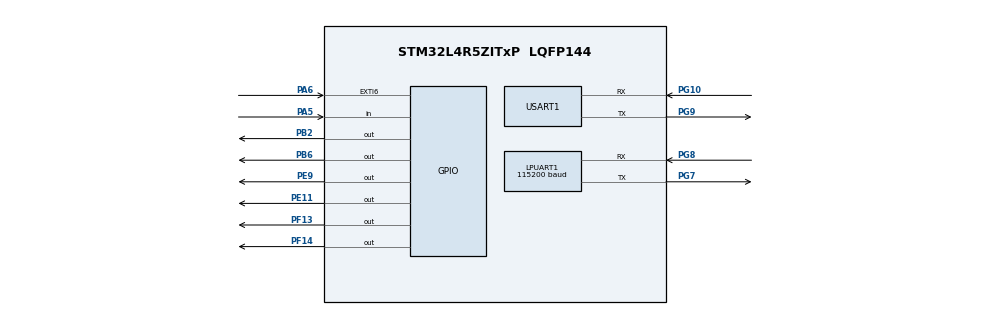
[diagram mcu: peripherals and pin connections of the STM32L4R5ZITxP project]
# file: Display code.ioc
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LPUART1.BaudRate=115200
LPUART1.WordLength=UART_WORDLENGTH_8B
Mcu.Family=STM32L4
Mcu.Name=STM32L4R5ZITxP
Mcu.Package=LQFP144
NVIC.EXTI9_5_IRQn=true\:0\:0\:false\:false\:true\:true\:true\:true
NVIC.PriorityGroup=NVIC_PRIORITYGROUP_4
NVIC.USART1_IRQn=true\:0\:0\:false\:false\:true\:true\:true\:true
PA0.Signal=S_TIM2_CH1
PA1.Signal=ADCx_IN6
PA10.Signal=USB_OTG_FS_ID
PA13\ (JTMS/SWDIO).Signal=SYS_JTMS-SWDIO
PA14\ (JTCK/SWCLK).Signal=SYS_JTCK-SWCLK
PA3.Signal=ADCx_IN8
PA4.Signal=SPI1_NSS
PA5.GPIO_PuPd=GPIO_PULLUP
PA5.Signal=GPIO_Input
PA6.GPIO_ModeDefaultEXTI=GPIO_MODE_IT_FALLING
PA6.GPIO_PuPd=GPIO_PULLUP
PA6.Signal=GPXTI6
PA7.Signal=SPI1_MOSI
PA8.Signal=USB_OTG_FS_SOF
PA9.Signal=USB_OTG_FS_VBUS
PB0.Signal=S_TIM3_CH3
PB1.Signal=ADCx_IN16
PB10.Signal=S_TIM2_CH3
PB12.Signal=SAI2_FS_A
PB13.Signal=SAI2_SCK_A
PB14.Signal=S_TIM15_CH1
PB15.Signal=SAI2_SD_A
PB2.Signal=GPIO_Output
PB3\ (JTDO/TRACESWO).Signal=SPI3_SCK
PB4\ (NJTRST).Signal=SPI3_MISO
PB5.Signal=SPI3_MOSI
PB6.Signal=GPIO_Output
PB8.Signal=I2C1_SCL
PB9.Signal=I2C1_SDA
PC0.Signal=ADCx_IN1
PC1.Signal=ADCx_IN2
PC10.Signal=SDMMC1_D2
PC11.Signal=SDMMC1_D3
PC12.Signal=SDMMC1_CK
PC13.Signal=SYS_WKUP2
PC14-OSC32_IN\ (PC14).Signal=RCC_OSC32_IN
PC15-OSC32_OUT\ (PC15).Signal=RCC_OSC32_OUT
PC2.Signal=ADCx_IN3
PC3.Signal=ADCx_IN4
PC4.Signal=ADCx_IN13
PC5.Signal=ADCx_IN14
PC6.Signal=SAI2_MCLK_A
PC7.Signal=S_TIM3_CH2
PC8.Signal=SDMMC1_D0
PC9.Signal=SDMMC1_D1
PD0.Signal=CAN1_RX
PD14.Signal=S_TIM4_CH3
PD15.Signal=S_TIM4_CH4
PD2.Signal=SDMMC1_CMD
PD3.Signal=USART2_CTS
PD4.Signal=USART2_RTS
PD5.Signal=USART2_TX
PD6.Signal=USART2_RX
PD8.Signal=USART3_TX
PD9.Signal=USART3_RX
PE0.Signal=S_TIM4_ETR
PE10.Signal=TIM1_CH2N
PE11.Signal=GPIO_Output
PE12.Signal=TIM1_CH3N
PE13.Signal=S_TIM1_CH3
PE14.Signal=TIM1_BKIN2
PE15.Signal=TIM1_BKIN
PE2.Signal=SAI1_MCLK_A
PE3.Signal=SAI1_SD_B
PE7.Signal=S_TIM1_ETR
PE8.Signal=TIM1_CH1N
PE9.Signal=GPIO_Output
PF0.Signal=I2C2_SDA
PF1.Signal=I2C2_SCL
PF13.Signal=GPIO_Output
PF14.Signal=GPIO_Output
PF2.Signal=I2C2_SMBA
PF7.Signal=SAI1_MCLK_B
PG10.Mode=Asynchronous
PG10.Signal=USART1_RX
PG7.Mode=Asynchronous
PG7.Signal=LPUART1_TX
PG8.Mode=Asynchronous
PG8.Signal=LPUART1_RX
PG9.Mode=Asynchronous
PG9.Signal=USART1_TX
PH0-OSC_IN\ (PH0).Signal=RCC_OSC_IN
PH1-OSC_OUT\ (PH1).Signal=RCC_OSC_OUT
ProjectManager.HeapSize=0x200
ProjectManager.StackSize=0x400
ProjectManager.TargetToolchain=STM32CubeIDE
RCC.HSE_VALUE=8000000
RCC.HSI48_VALUE=48000000
RCC.HSI_VALUE=16000000
RCC.LSE_VALUE=32768
RCC.MSI_VALUE=4000000
RCC.VCOOutputFreq_Value=32000000
SH.ADCx_IN1.0=ADC1_IN1
SH.ADCx_IN13.0=ADC1_IN13
SH.ADCx_IN14.0=ADC1_IN14
SH.ADCx_IN16.0=ADC1_IN16
SH.ADCx_IN2.0=ADC1_IN2
SH.ADCx_IN3.0=ADC1_IN3
SH.ADCx_IN4.0=ADC1_IN4
SH.ADCx_IN6.0=ADC1_IN6
SH.ADCx_IN8.0=ADC1_IN8
SH.S_TIM15_CH1.0=TIM15_CH1
SH.S_TIM1_CH3.0=TIM1_CH3
SH.S_TIM1_ETR.0=TIM1_ETR
SH.S_TIM2_CH1.0=TIM2_CH1
SH.S_TIM2_CH3.0=TIM2_CH3
SH.S_TIM3_CH2.0=TIM3_CH2
SH.S_TIM3_CH3.0=TIM3_CH3
SH.S_TIM4_CH3.0=TIM4_CH3
SH.S_TIM4_CH4.0=TIM4_CH4
SH.S_TIM4_ETR.0=TIM4_ETR
USART1.VirtualMode-Asynchronous=VM_ASYNC
board=NUCLEO-L4R5ZI-P

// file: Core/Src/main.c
/* USER CODE BEGIN Header */
/**
  ******************************************************************************
  * @file           : main.c
  * @brief          : Main program body
  ******************************************************************************
  * @attention
  *
  * Copyright (c) 2025 STMicroelectronics.
  * All rights reserved.
  *
  * This software is licensed under terms that can be found in the LICENSE file
  * in the root directory of this software component.
  * If no LICENSE file comes with this software, it is provided AS-IS.
  *
  ******************************************************************************
  */
/* USER CODE END Header */
#include "main.h"

/* USER CODE BEGIN Includes */

#include "stdio.h"
#include "stdbool.h"

/* USER CODE END Includes */

/* USER CODE BEGIN PTD */
#define PS2_CLOCK_PIN  GPIO_PIN_6
#define PS2_CLOCK_GPIO_Port  GPIOA

#define PS2_DATA_PIN  GPIO_PIN_5
#define PS2_DATA_GPIO_Port  GPIOA

extern UART_HandleTypeDef huart1;  // <-- Add this line

/* USER CODE END PTD */

/* USER CODE BEGIN PD */

void command(char i){

	data(i); //put data on output Port
	//D_I =0; //D/I=LOW : send instruction
	HAL_GPIO_WritePin(GPIOB, GPIO_PIN_2, 0);
	//R_W =0; //R/W=LOW : Write
	Nybble(); //Send lower 4 bits
	i = i<<4; //Shift over by 4 bits
	data(i); //put data on output Port
	Nybble(); //Send upper 4 bits

}

void write(char i){

	data(i); //put data on output Port
	//D_I =1; //D/I=HIGH : send data
	HAL_GPIO_WritePin(GPIOB, GPIO_PIN_2, 1);
	//R_W =0; //R/W=LOW : Write
	Nybble(); //Clock lower 4 bits
	i = i<<4; //Shift over by 4 bits
	data(i); //put data on output Port
	Nybble(); //Clock upper 4 bits

}

void print_lcd(const char* str) {

	while (*str) {
		write(*str);
		str++;

	}
}

void data(char i){

	HAL_GPIO_WritePin(GPIOF, GPIO_PIN_14, (i >> 4) & 1);
	HAL_GPIO_WritePin(GPIOE, GPIO_PIN_11, (i >> 5) & 1);
	HAL_GPIO_WritePin(GPIOE, GPIO_PIN_9, (i >> 6) & 1);
	HAL_GPIO_WritePin(GPIOF, GPIO_PIN_13, (i >> 7) & 1);

}

void Nybble(){

	HAL_GPIO_WritePin(GPIOB, GPIO_PIN_6, 1);
	HAL_Delay(1); //enable pulse width >= 300ns
	HAL_GPIO_WritePin(GPIOB, GPIO_PIN_6, 0); //enable falling edge

}

void lcd_init(){

	data(0);
	HAL_Delay(100); //Wait >40 msec after power is applied
	data(0x30); //put 0x30 on the output port
	HAL_Delay(30); //must wait 5ms, busy flag not available
	Nybble(); //command 0x30 = Wake up
	HAL_Delay(10); //must wait 160us, busy flag not available
	Nybble(); //command 0x30 = Wake up #2
	HAL_Delay(10); //must wait 160us, busy flag not available
	Nybble(); //command 0x30 = Wake up #3
	HAL_Delay(10); //can check busy flag now instead of delay
	data(0x20); //put 0x20 on the output port
	Nybble(); //Function set: 4-bit interface
	command(0x28); //Function set: 4-bit/2-line
	command(0x10); //Set cursor
	command(0x0F); //Display ON; Blinking cursor
	command(0x06); //Entry Mode set

}

/**************************************************/
//keyboard stuff

volatile int ps2_data_ready = false;
volatile uint8_t ps2_scan_code = 0;

int counter = 0;
enum PS2State {
    PS2_IDLE,
    PS2_BREAK_PENDING,
    PS2_EXTENDED_PENDING
};

volatile enum PS2State ps2_state = PS2_IDLE;

volatile uint32_t last_key_timestamp = 0;
volatile uint8_t last_key_code = 0;
#define REPEAT_FILTER_MS 160

#define BUFFER_SIZE 128
char keyChar = 0;
char promptBuffer[128];
uint16_t promptIndex = 0;
bool screen_limit = false;

void process_keyboard(void) {

	if (ps2_data_ready == false) return;
	uint8_t current_code = ps2_scan_code;

	// Handle special codes
	if (current_code == 0xF0) {
		ps2_state =	PS2_BREAK_PENDING;
		ps2_data_ready = false;

		return;
	}
	if (current_code == 0xE0) {
		ps2_state =	PS2_EXTENDED_PENDING;
		ps2_data_ready = false;

		return;
	}

	// If we're processing the second byte of a break sequence, ignore it
	if (ps2_state == PS2_BREAK_PENDING) {
		ps2_state = PS2_IDLE;
		ps2_data_ready = false;

		return;
	}

	//printf("Scan code: 0x%02X\n", current_code);

    uint32_t now = HAL_GetTick();
    if ((current_code == last_key_code) &&
        ((now - last_key_timestamp) < REPEAT_FILTER_MS)) {
        // Ignore this duplicate event.
    	ps2_data_ready = false;

        return;
    }

    last_key_timestamp = now;
    last_key_code = current_code;

	switch (current_code) {
		case 0x1C: keyChar = 'A'; write('A'); counter++; break;
	    case 0x32: keyChar = 'B'; write('B'); counter++; break;
	    case 0x21: keyChar = 'C'; write('C'); counter++; break;
	    case 0x23: keyChar = 'D'; write('D'); counter++; break;
	    case 0x24: keyChar = 'E'; write('E'); counter++; break;
	    case 0x2B: keyChar = 'F'; write('F'); counter++; break;
	    case 0x34: keyChar = 'G'; write('G'); counter++; break;
	    case 0x33: keyChar = 'H'; write('H'); counter++; break;
	    case 0x43: keyChar = 'I'; write('I'); counter++; break;
	    case 0x3B: keyChar = 'J'; write('J'); counter++; break;
	    case 0x42: keyChar = 'K'; write('K'); counter++; break;
	    case 0x4B: keyChar = 'L'; write('L'); counter++; break;
	    case 0x3A: keyChar = 'M'; write('M'); counter++; break;
	    case 0x31: keyChar = 'N'; write('N'); counter++; break;
	    case 0x44: keyChar = 'O'; write('O'); counter++; break;
	    case 0x4D: keyChar = 'P'; write('P'); counter++; break;
	    case 0x15: keyChar = 'Q'; write('Q'); counter++; break;
	    case 0x2D: keyChar = 'R'; write('R'); counter++; break;
	    case 0x1B: keyChar = 'S'; write('S'); counter++; break;
	    case 0x2C: keyChar = 'T'; write('T'); counter++; break;
	    case 0x3C: keyChar = 'U'; write('U'); counter++; break;
	    case 0x2A: keyChar = 'V'; write('V'); counter++; break;
	    case 0x1D: keyChar = 'W'; write('W'); counter++; break;
	    case 0x22: keyChar = 'X'; write('X'); counter++; break;
	    case 0x35: keyChar = 'Y'; write('Y'); counter++; break;
	    case 0x1A: keyChar = 'Z'; write('Z'); counter++; break;
	    // Numbers
	    case 0x16: keyChar = '1'; write('1'); counter++; break;
	    case 0x1E: keyChar = '2'; write('2'); counter++; break;
	    case 0x26: keyChar = '3'; write('3'); counter++; break;
	    case 0x25: keyChar = '4'; write('4'); counter++; break;
	    case 0x2E: keyChar = '5'; write('5'); counter++; break;
	    case 0x36: keyChar = '6'; write('6'); counter++; break;
	    case 0x3D: keyChar = '7'; write('7'); counter++; break;
	    case 0x3E: keyChar = '8'; write('8'); counter++; break;
	    case 0x46: keyChar = '9'; write('9'); counter++; break;
	    case 0x45: keyChar = '0'; write('0'); counter++; break;
	    // Punctuation and symbols
	    case 0x41: keyChar = ','; write(','); counter++; break;
	    case 0x49: keyChar = '.'; write('.'); counter++; break;
	    case 0x0E: keyChar = '`'; write('`'); counter++; break;
	    case 0x4E: keyChar = '-'; write('-'); counter++; break;
	    case 0x55: keyChar = '='; write('='); counter++; break;
	    case 0x5A: keyChar = '\n'; command(0x01); counter = 0; break;
	    case 0x66:
	        keyChar = '\b';
	        if (counter > 0) {
	            command(0x10);  // Shift cursor left
	            write(' ');     // Write a space to erase the character
	            command(0x10);  // Move cursor back to the "erased" position
	            counter--;
	        }
	        break;
	    case 0x54: keyChar = '['; write('['); counter++; break;
	    case 0x5B: keyChar = ']'; write(']'); counter++; break;
	    case 0x29: keyChar = ' '; write(' '); counter++; break;
	}

	if(counter == 20 && current_code != 0x66){
		command(0xC0);
	}
	else if(counter == 40 && current_code != 0x66){
		command(0x94);
	}
	else if(counter == 60 && current_code != 0x66){
		command(0xD4);
	}
	else if(counter == 80 && current_code != 0x66){
		command(0x01);
		counter = 0;
		screen_limit = true;
	}
	else if(counter == 20 && current_code == 0x66){
		command(0x94);
		command(0x10);  // Shift cursor left
		write(' ');     // Write a space to erase the character
		command(0x10);
		counter--;
	}
	else if(counter == 40 && current_code == 0x66){
		command(0xD4);
		command(0x10);  // Shift cursor left
		write(' ');     // Write a space to erase the character
		command(0x10);
		counter--;
	}
	else if(counter == 60 && current_code == 0x66){
		command(0xC0);
		command(0x10);  // Shift cursor left
		write(' ');     // Write a space to erase the character
		command(0x10);
		counter--;
	}
	else if(counter == 80 && current_code == 0x66){
		command(0x01);
		command(0x10);  // Shift cursor left
		write(' ');     // Write a space to erase the character
		command(0x10);
		counter--;
	}

	// Bluetooth Code
	if(current_code == 0x66){
		if (promptIndex > 0) {
			promptIndex--;
		    promptBuffer[promptIndex] = '\0';
		}
	}
	else if(current_code == 0x5A || screen_limit == true){
		printf("Final Prompt: %s\n", promptBuffer);
		promptBuffer[promptIndex] = '\n';
		HAL_UART_Transmit(&huart1, (uint8_t *)promptBuffer, promptIndex, HAL_MAX_DELAY);
		promptIndex = 0;
		memset(promptBuffer, 0, BUFFER_SIZE);
		screen_limit = false;
	}
	else{
		promptBuffer[promptIndex++] = keyChar;
		promptBuffer[promptIndex] = '\0';  // Keep it null-terminated.
	}

	ps2_data_ready = false;
}

/* USER CODE END PD */

UART_HandleTypeDef hlpuart1;
UART_HandleTypeDef huart1;

void SystemClock_Config(void);
static void MX_GPIO_Init(void);
static void MX_LPUART1_UART_Init(void);
static void MX_USART1_UART_Init(void);

/* USER CODE BEGIN 0 */

volatile uint8_t ps2_data = 0;
volatile uint8_t ps2_bitcount = 0;

void HAL_GPIO_EXTI_Callback(uint16_t GPIO_Pin) {
	if (GPIO_Pin == PS2_CLOCK_PIN) {
	    // Start bit (should be 0)

		if(ps2_data_ready == false){

			if (ps2_bitcount == 0) {
			  // Verify it's a start bit (0)
			  if (!HAL_GPIO_ReadPin(PS2_DATA_GPIO_Port, PS2_DATA_PIN)) {
				ps2_data = 0;
				ps2_bitcount++;
			  }
			}
			// Data bits (1-8)
			else if (ps2_bitcount >= 1 && ps2_bitcount <= 8) {
			  ps2_data >>= 1;
			  if (HAL_GPIO_ReadPin(PS2_DATA_GPIO_Port, PS2_DATA_PIN)) {
				ps2_data |= 0x80;
			  }
			  ps2_bitcount++;
			}
			// Parity bit (9)
			else if (ps2_bitcount == 9) {
			  // We ignore parity for now
			  ps2_bitcount++;
			}
			// Stop bit (10)
			else if (ps2_bitcount == 10) {
			  ps2_bitcount = 0;
			  ps2_scan_code = ps2_data;
			  ps2_data_ready = true;
			}

		}
	  }
}

/* USER CODE END 0 */

int main(void)
{

  /* MCU Configuration--------------------------------------------------------*/

  /* Reset of all peripherals, Initializes the Flash interface and the Systick. */
  HAL_Init();

  /* Configure the system clock */
  SystemClock_Config();

  /* Initialize all configured peripherals */
  MX_GPIO_Init();
  MX_LPUART1_UART_Init();
  MX_USART1_UART_Init();

  /* Infinite loop */
  /* USER CODE BEGIN WHILE */

//  uint8_t buffer[BUFFER_SIZE];
  lcd_init();

  command(0x01);
  HAL_Delay(5);
  //print_lcd("Qussai");

  while (1)
  {
    /* USER CODE END WHILE */
	  process_keyboard();
	  //sHAL_Delay(10); // Small delay for stability
  }
}

/*
  * @brief System Clock Configuration
  * @retval None
  */
void SystemClock_Config(void)
{
  RCC_OscInitTypeDef RCC_OscInitStruct = {0};
  RCC_ClkInitTypeDef RCC_ClkInitStruct = {0};

  /** Configure the main internal regulator output voltage
  */
  if (HAL_PWREx_ControlVoltageScaling(PWR_REGULATOR_VOLTAGE_SCALE1) != HAL_OK)
  {
    Error_Handler();
  }

  /** Initializes the RCC Oscillators according to the specified parameters
  * in the RCC_OscInitTypeDef structure.
  */
  RCC_OscInitStruct.OscillatorType = RCC_OSCILLATORTYPE_MSI;
  RCC_OscInitStruct.MSIState = RCC_MSI_ON;
  RCC_OscInitStruct.MSICalibrationValue = 0;
  RCC_OscInitStruct.MSIClockRange = RCC_MSIRANGE_6;
  RCC_OscInitStruct.PLL.PLLState = RCC_PLL_NONE;
  if (HAL_RCC_OscConfig(&RCC_OscInitStruct) != HAL_OK)
  {
    Error_Handler();
  }

  /** Initializes the CPU, AHB and APB buses clocks
  */
  RCC_ClkInitStruct.ClockType = RCC_CLOCKTYPE_HCLK|RCC_CLOCKTYPE_SYSCLK
                              |RCC_CLOCKTYPE_PCLK1|RCC_CLOCKTYPE_PCLK2;
  RCC_ClkInitStruct.SYSCLKSource = RCC_SYSCLKSOURCE_MSI;
  RCC_ClkInitStruct.AHBCLKDivider = RCC_SYSCLK_DIV1;
  RCC_ClkInitStruct.APB1CLKDivider = RCC_HCLK_DIV1;
  RCC_ClkInitStruct.APB2CLKDivider = RCC_HCLK_DIV1;

  if (HAL_RCC_ClockConfig(&RCC_ClkInitStruct, FLASH_LATENCY_0) != HAL_OK)
  {
    Error_Handler();
  }
}

static void MX_LPUART1_UART_Init(void)
{

  hlpuart1.Instance = LPUART1;
  hlpuart1.Init.BaudRate = 115200;
  hlpuart1.Init.WordLength = UART_WORDLENGTH_8B;
  hlpuart1.Init.StopBits = UART_STOPBITS_1;
  hlpuart1.Init.Parity = UART_PARITY_NONE;
  hlpuart1.Init.Mode = UART_MODE_TX_RX;
  hlpuart1.Init.HwFlowCtl = UART_HWCONTROL_NONE;
  hlpuart1.Init.OneBitSampling = UART_ONE_BIT_SAMPLE_DISABLE;
  hlpuart1.Init.ClockPrescaler = UART_PRESCALER_DIV1;
  hlpuart1.AdvancedInit.AdvFeatureInit = UART_ADVFEATURE_NO_INIT;
  hlpuart1.FifoMode = UART_FIFOMODE_DISABLE;
  if (HAL_UART_Init(&hlpuart1) != HAL_OK)
  {
    Error_Handler();
  }
  if (HAL_UARTEx_SetTxFifoThreshold(&hlpuart1, UART_TXFIFO_THRESHOLD_1_8) != HAL_OK)
  {
    Error_Handler();
  }
  if (HAL_UARTEx_SetRxFifoThreshold(&hlpuart1, UART_RXFIFO_THRESHOLD_1_8) != HAL_OK)
  {
    Error_Handler();
  }
  if (HAL_UARTEx_DisableFifoMode(&hlpuart1) != HAL_OK)
  {
    Error_Handler();
  }

}

static void MX_USART1_UART_Init(void)
{

  huart1.Instance = USART1;
  huart1.Init.BaudRate = 115200;
  huart1.Init.WordLength = UART_WORDLENGTH_8B;
  huart1.Init.StopBits = UART_STOPBITS_1;
  huart1.Init.Parity = UART_PARITY_NONE;
  huart1.Init.Mode = UART_MODE_TX_RX;
  huart1.Init.HwFlowCtl = UART_HWCONTROL_NONE;
  huart1.Init.OverSampling = UART_OVERSAMPLING_16;
  huart1.Init.OneBitSampling = UART_ONE_BIT_SAMPLE_DISABLE;
  huart1.Init.ClockPrescaler = UART_PRESCALER_DIV1;
  huart1.AdvancedInit.AdvFeatureInit = UART_ADVFEATURE_NO_INIT;
  if (HAL_UART_Init(&huart1) != HAL_OK)
  {
    Error_Handler();
  }
  if (HAL_UARTEx_SetTxFifoThreshold(&huart1, UART_TXFIFO_THRESHOLD_1_8) != HAL_OK)
  {
    Error_Handler();
  }
  if (HAL_UARTEx_SetRxFifoThreshold(&huart1, UART_RXFIFO_THRESHOLD_1_8) != HAL_OK)
  {
    Error_Handler();
  }
  if (HAL_UARTEx_DisableFifoMode(&huart1) != HAL_OK)
  {
    Error_Handler();
  }

}

static void MX_GPIO_Init(void)
{
  GPIO_InitTypeDef GPIO_InitStruct = {0};

  /* GPIO Ports Clock Enable */
  __HAL_RCC_GPIOE_CLK_ENABLE();
  __HAL_RCC_GPIOC_CLK_ENABLE();
  __HAL_RCC_GPIOF_CLK_ENABLE();
  __HAL_RCC_GPIOH_CLK_ENABLE();
  __HAL_RCC_GPIOA_CLK_ENABLE();
  __HAL_RCC_GPIOB_CLK_ENABLE();
  __HAL_RCC_GPIOD_CLK_ENABLE();
  __HAL_RCC_GPIOG_CLK_ENABLE();
  HAL_PWREx_EnableVddIO2();

  /*Configure GPIO pin Output Level */
  HAL_GPIO_WritePin(GPIOB, GPIO_PIN_2|GPIO_PIN_6, GPIO_PIN_RESET);

  /*Configure GPIO pin Output Level */
  HAL_GPIO_WritePin(GPIOF, GPIO_PIN_13|GPIO_PIN_14, GPIO_PIN_RESET);

  /*Configure GPIO pin Output Level */
  HAL_GPIO_WritePin(GPIOE, GPIO_PIN_9|GPIO_PIN_11, GPIO_PIN_RESET);

  /*Configure GPIO pins : PE2 PE3 */
  GPIO_InitStruct.Pin = GPIO_PIN_2|GPIO_PIN_3;
  GPIO_InitStruct.Mode = GPIO_MODE_AF_PP;
  GPIO_InitStruct.Pull = GPIO_NOPULL;
  GPIO_InitStruct.Speed = GPIO_SPEED_FREQ_LOW;
  GPIO_InitStruct.Alternate = GPIO_AF13_SAI1;
  HAL_GPIO_Init(GPIOE, &GPIO_InitStruct);

  /*Configure GPIO pins : PF0 PF1 PF2 */
  GPIO_InitStruct.Pin = GPIO_PIN_0|GPIO_PIN_1|GPIO_PIN_2;
  GPIO_InitStruct.Mode = GPIO_MODE_AF_OD;
  GPIO_InitStruct.Pull = GPIO_NOPULL;
  GPIO_InitStruct.Speed = GPIO_SPEED_FREQ_VERY_HIGH;
  GPIO_InitStruct.Alternate = GPIO_AF4_I2C2;
  HAL_GPIO_Init(GPIOF, &GPIO_InitStruct);

  /*Configure GPIO pin : PF7 */
  GPIO_InitStruct.Pin = GPIO_PIN_7;
  GPIO_InitStruct.Mode = GPIO_MODE_AF_PP;
  GPIO_InitStruct.Pull = GPIO_NOPULL;
  GPIO_InitStruct.Speed = GPIO_SPEED_FREQ_LOW;
  GPIO_InitStruct.Alternate = GPIO_AF13_SAI1;
  HAL_GPIO_Init(GPIOF, &GPIO_InitStruct);

  /*Configure GPIO pins : PC0 PC1 PC2 PC3
                           PC4 PC5 */
  GPIO_InitStruct.Pin = GPIO_PIN_0|GPIO_PIN_1|GPIO_PIN_2|GPIO_PIN_3
                          |GPIO_PIN_4|GPIO_PIN_5;
  GPIO_InitStruct.Mode = GPIO_MODE_ANALOG_ADC_CONTROL;
  GPIO_InitStruct.Pull = GPIO_NOPULL;
  HAL_GPIO_Init(GPIOC, &GPIO_InitStruct);

  /*Configure GPIO pin : PA0 */
  GPIO_InitStruct.Pin = GPIO_PIN_0;
  GPIO_InitStruct.Mode = GPIO_MODE_AF_PP;
  GPIO_InitStruct.Pull = GPIO_NOPULL;
  GPIO_InitStruct.Speed = GPIO_SPEED_FREQ_LOW;
  GPIO_InitStruct.Alternate = GPIO_AF1_TIM2;
  HAL_GPIO_Init(GPIOA, &GPIO_InitStruct);

  /*Configure GPIO pins : PA1 PA3 */
  GPIO_InitStruct.Pin = GPIO_PIN_1|GPIO_PIN_3;
  GPIO_InitStruct.Mode = GPIO_MODE_ANALOG_ADC_CONTROL;
  GPIO_InitStruct.Pull = GPIO_NOPULL;
  HAL_GPIO_Init(GPIOA, &GPIO_InitStruct);

  /*Configure GPIO pins : PA4 PA7 */
  GPIO_InitStruct.Pin = GPIO_PIN_4|GPIO_PIN_7;
  GPIO_InitStruct.Mode = GPIO_MODE_AF_PP;
  GPIO_InitStruct.Pull = GPIO_NOPULL;
  GPIO_InitStruct.Speed = GPIO_SPEED_FREQ_VERY_HIGH;
  GPIO_InitStruct.Alternate = GPIO_AF5_SPI1;
  HAL_GPIO_Init(GPIOA, &GPIO_InitStruct);

  /*Configure GPIO pin : PA5 */
  GPIO_InitStruct.Pin = GPIO_PIN_5;
  GPIO_InitStruct.Mode = GPIO_MODE_INPUT;
  GPIO_InitStruct.Pull = GPIO_PULLUP;
  HAL_GPIO_Init(GPIOA, &GPIO_InitStruct);

  /*Configure GPIO pin : PA6 */
  GPIO_InitStruct.Pin = GPIO_PIN_6;
  GPIO_InitStruct.Mode = GPIO_MODE_IT_FALLING;
  GPIO_InitStruct.Pull = GPIO_PULLUP;
  HAL_GPIO_Init(GPIOA, &GPIO_InitStruct);

  /*Configure GPIO pin : PB0 */
  GPIO_InitStruct.Pin = GPIO_PIN_0;
  GPIO_InitStruct.Mode = GPIO_MODE_AF_PP;
  GPIO_InitStruct.Pull = GPIO_NOPULL;
  GPIO_InitStruct.Speed = GPIO_SPEED_FREQ_LOW;
  GPIO_InitStruct.Alternate = GPIO_AF2_TIM3;
  HAL_GPIO_Init(GPIOB, &GPIO_InitStruct);

  /*Configure GPIO pin : PB1 */
  GPIO_InitStruct.Pin = GPIO_PIN_1;
  GPIO_InitStruct.Mode = GPIO_MODE_ANALOG_ADC_CONTROL;
  GPIO_InitStruct.Pull = GPIO_NOPULL;
  HAL_GPIO_Init(GPIOB, &GPIO_InitStruct);

  /*Configure GPIO pins : PB2 PB6 */
  GPIO_InitStruct.Pin = GPIO_PIN_2|GPIO_PIN_6;
  GPIO_InitStruct.Mode = GPIO_MODE_OUTPUT_PP;
  GPIO_InitStruct.Pull = GPIO_NOPULL;
  GPIO_InitStruct.Speed = GPIO_SPEED_FREQ_LOW;
  HAL_GPIO_Init(GPIOB, &GPIO_InitStruct);

  /*Configure GPIO pins : PF13 PF14 */
  GPIO_InitStruct.Pin = GPIO_PIN_13|GPIO_PIN_14;
  GPIO_InitStruct.Mode = GPIO_MODE_OUTPUT_PP;
  GPIO_InitStruct.Pull = GPIO_NOPULL;
  GPIO_InitStruct.Speed = GPIO_SPEED_FREQ_LOW;
  HAL_GPIO_Init(GPIOF, &GPIO_InitStruct);

  /*Configure GPIO pins : PE7 PE8 PE10 PE12
                           PE13 */
  GPIO_InitStruct.Pin = GPIO_PIN_7|GPIO_PIN_8|GPIO_PIN_10|GPIO_PIN_12
                          |GPIO_PIN_13;
  GPIO_InitStruct.Mode = GPIO_MODE_AF_PP;
  GPIO_InitStruct.Pull = GPIO_NOPULL;
  GPIO_InitStruct.Speed = GPIO_SPEED_FREQ_LOW;
  GPIO_InitStruct.Alternate = GPIO_AF1_TIM1;
  HAL_GPIO_Init(GPIOE, &GPIO_InitStruct);

  /*Configure GPIO pins : PE9 PE11 */
  GPIO_InitStruct.Pin = GPIO_PIN_9|GPIO_PIN_11;
  GPIO_InitStruct.Mode = GPIO_MODE_OUTPUT_PP;
  GPIO_InitStruct.Pull = GPIO_NOPULL;
  GPIO_InitStruct.Speed = GPIO_SPEED_FREQ_LOW;
  HAL_GPIO_Init(GPIOE, &GPIO_InitStruct);

  /*Configure GPIO pins : PE14 PE15 */
  GPIO_InitStruct.Pin = GPIO_PIN_14|GPIO_PIN_15;
  GPIO_InitStruct.Mode = GPIO_MODE_AF_PP;
  GPIO_InitStruct.Pull = GPIO_NOPULL;
  GPIO_InitStruct.Speed = GPIO_SPEED_FREQ_LOW;
  GPIO_InitStruct.Alternate = GPIO_AF3_TIM1_COMP1;
  HAL_GPIO_Init(GPIOE, &GPIO_InitStruct);

  /*Configure GPIO pin : PB10 */
  GPIO_InitStruct.Pin = GPIO_PIN_10;
  GPIO_InitStruct.Mode = GPIO_MODE_AF_PP;
  GPIO_InitStruct.Pull = GPIO_NOPULL;
  GPIO_InitStruct.Speed = GPIO_SPEED_FREQ_LOW;
  GPIO_InitStruct.Alternate = GPIO_AF1_TIM2;
  HAL_GPIO_Init(GPIOB, &GPIO_InitStruct);

  /*Configure GPIO pins : PB12 PB13 PB15 */
  GPIO_InitStruct.Pin = GPIO_PIN_12|GPIO_PIN_13|GPIO_PIN_15;
  GPIO_InitStruct.Mode = GPIO_MODE_AF_PP;
  GPIO_InitStruct.Pull = GPIO_NOPULL;
  GPIO_InitStruct.Speed = GPIO_SPEED_FREQ_LOW;
  GPIO_InitStruct.Alternate = GPIO_AF13_SAI2;
  HAL_GPIO_Init(GPIOB, &GPIO_InitStruct);

  /*Configure GPIO pin : PB14 */
  GPIO_InitStruct.Pin = GPIO_PIN_14;
  GPIO_InitStruct.Mode = GPIO_MODE_AF_PP;
  GPIO_InitStruct.Pull = GPIO_NOPULL;
  GPIO_InitStruct.Speed = GPIO_SPEED_FREQ_LOW;
  GPIO_InitStruct.Alternate = GPIO_AF14_TIM15;
  HAL_GPIO_Init(GPIOB, &GPIO_InitStruct);

  /*Configure GPIO pins : PD8 PD9 */
  GPIO_InitStruct.Pin = GPIO_PIN_8|GPIO_PIN_9;
  GPIO_InitStruct.Mode = GPIO_MODE_AF_PP;
  GPIO_InitStruct.Pull = GPIO_NOPULL;
  GPIO_InitStruct.Speed = GPIO_SPEED_FREQ_VERY_HIGH;
  GPIO_InitStruct.Alternate = GPIO_AF7_USART3;
  HAL_GPIO_Init(GPIOD, &GPIO_InitStruct);

  /*Configure GPIO pins : PD14 PD15 */
  GPIO_InitStruct.Pin = GPIO_PIN_14|GPIO_PIN_15;
  GPIO_InitStruct.Mode = GPIO_MODE_AF_PP;
  GPIO_InitStruct.Pull = GPIO_NOPULL;
  GPIO_InitStruct.Speed = GPIO_SPEED_FREQ_LOW;
  GPIO_InitStruct.Alternate = GPIO_AF2_TIM4;
  HAL_GPIO_Init(GPIOD, &GPIO_InitStruct);

  /*Configure GPIO pin : PC6 */
  GPIO_InitStruct.Pin = GPIO_PIN_6;
  GPIO_InitStruct.Mode = GPIO_MODE_AF_PP;
  GPIO_InitStruct.Pull = GPIO_NOPULL;
  GPIO_InitStruct.Speed = GPIO_SPEED_FREQ_LOW;
  GPIO_InitStruct.Alternate = GPIO_AF13_SAI2;
  HAL_GPIO_Init(GPIOC, &GPIO_InitStruct);

  /*Configure GPIO pin : PC7 */
  GPIO_InitStruct.Pin = GPIO_PIN_7;
  GPIO_InitStruct.Mode = GPIO_MODE_AF_PP;
  GPIO_InitStruct.Pull = GPIO_NOPULL;
  GPIO_InitStruct.Speed = GPIO_SPEED_FREQ_LOW;
  GPIO_InitStruct.Alternate = GPIO_AF2_TIM3;
  HAL_GPIO_Init(GPIOC, &GPIO_InitStruct);

  /*Configure GPIO pins : PC8 PC9 PC10 PC11
                           PC12 */
  GPIO_InitStruct.Pin = GPIO_PIN_8|GPIO_PIN_9|GPIO_PIN_10|GPIO_PIN_11
                          |GPIO_PIN_12;
  GPIO_InitStruct.Mode = GPIO_MODE_AF_PP;
  GPIO_InitStruct.Pull = GPIO_NOPULL;
  GPIO_InitStruct.Speed = GPIO_SPEED_FREQ_VERY_HIGH;
  GPIO_InitStruct.Alternate = GPIO_AF12_SDMMC1;
  HAL_GPIO_Init(GPIOC, &GPIO_InitStruct);

  /*Configure GPIO pins : PA8 PA10 */
  GPIO_InitStruct.Pin = GPIO_PIN_8|GPIO_PIN_10;
  GPIO_InitStruct.Mode = GPIO_MODE_AF_PP;
  GPIO_InitStruct.Pull = GPIO_NOPULL;
  GPIO_InitStruct.Speed = GPIO_SPEED_FREQ_VERY_HIGH;
  GPIO_InitStruct.Alternate = GPIO_AF10_OTG_FS;
  HAL_GPIO_Init(GPIOA, &GPIO_InitStruct);

  /*Configure GPIO pin : PA9 */
  GPIO_InitStruct.Pin = GPIO_PIN_9;
  GPIO_InitStruct.Mode = GPIO_MODE_INPUT;
  GPIO_InitStruct.Pull = GPIO_NOPULL;
  HAL_GPIO_Init(GPIOA, &GPIO_InitStruct);

  /*Configure GPIO pin : PD0 */
  GPIO_InitStruct.Pin = GPIO_PIN_0;
  GPIO_InitStruct.Mode = GPIO_MODE_AF_PP;
  GPIO_InitStruct.Pull = GPIO_NOPULL;
  GPIO_InitStruct.Speed = GPIO_SPEED_FREQ_VERY_HIGH;
  GPIO_InitStruct.Alternate = GPIO_AF9_CAN1;
  HAL_GPIO_Init(GPIOD, &GPIO_InitStruct);

  /*Configure GPIO pin : PD2 */
  GPIO_InitStruct.Pin = GPIO_PIN_2;
  GPIO_InitStruct.Mode = GPIO_MODE_AF_PP;
  GPIO_InitStruct.Pull = GPIO_NOPULL;
  GPIO_InitStruct.Speed = GPIO_SPEED_FREQ_VERY_HIGH;
  GPIO_InitStruct.Alternate = GPIO_AF12_SDMMC1;
  HAL_GPIO_Init(GPIOD, &GPIO_InitStruct);

  /*Configure GPIO pins : PD3 PD4 PD5 PD6 */
  GPIO_InitStruct.Pin = GPIO_PIN_3|GPIO_PIN_4|GPIO_PIN_5|GPIO_PIN_6;
  GPIO_InitStruct.Mode = GPIO_MODE_AF_PP;
  GPIO_InitStruct.Pull = GPIO_NOPULL;
  GPIO_InitStruct.Speed = GPIO_SPEED_FREQ_VERY_HIGH;
  GPIO_InitStruct.Alternate = GPIO_AF7_USART2;
  HAL_GPIO_Init(GPIOD, &GPIO_InitStruct);

  /*Configure GPIO pins : PB3 PB4 PB5 */
  GPIO_InitStruct.Pin = GPIO_PIN_3|GPIO_PIN_4|GPIO_PIN_5;
  GPIO_InitStruct.Mode = GPIO_MODE_AF_PP;
  GPIO_InitStruct.Pull = GPIO_NOPULL;
  GPIO_InitStruct.Speed = GPIO_SPEED_FREQ_VERY_HIGH;
  GPIO_InitStruct.Alternate = GPIO_AF6_SPI3;
  HAL_GPIO_Init(GPIOB, &GPIO_InitStruct);

  /*Configure GPIO pins : PB8 PB9 */
  GPIO_InitStruct.Pin = GPIO_PIN_8|GPIO_PIN_9;
  GPIO_InitStruct.Mode = GPIO_MODE_AF_OD;
  GPIO_InitStruct.Pull = GPIO_NOPULL;
  GPIO_InitStruct.Speed = GPIO_SPEED_FREQ_VERY_HIGH;
  GPIO_InitStruct.Alternate = GPIO_AF4_I2C1;
  HAL_GPIO_Init(GPIOB, &GPIO_InitStruct);

  /*Configure GPIO pin : PE0 */
  GPIO_InitStruct.Pin = GPIO_PIN_0;
  GPIO_InitStruct.Mode = GPIO_MODE_AF_PP;
  GPIO_InitStruct.Pull = GPIO_NOPULL;
  GPIO_InitStruct.Speed = GPIO_SPEED_FREQ_LOW;
  GPIO_InitStruct.Alternate = GPIO_AF2_TIM4;
  HAL_GPIO_Init(GPIOE, &GPIO_InitStruct);

  /* EXTI interrupt init*/
  HAL_NVIC_SetPriority(EXTI9_5_IRQn, 0, 0);
  HAL_NVIC_EnableIRQ(EXTI9_5_IRQn);

}

/* USER CODE BEGIN 4 */

#ifdef __GNUC__
#define PUTCHAR_PROTOTYPE int __io_putchar(int ch)
#else
  #define PUTCHAR_PROTOTYPE int fputc(int ch, FILE *f)
#endif /* __GNUC__ */
PUTCHAR_PROTOTYPE
{
  HAL_UART_Transmit(&hlpuart1, (uint8_t *)&ch, 1, 0xFFFF);
  return ch;
}

/* USER CODE END 4 */

void Error_Handler(void)
{
  __disable_irq();
  while (1)
  {
  }
}
